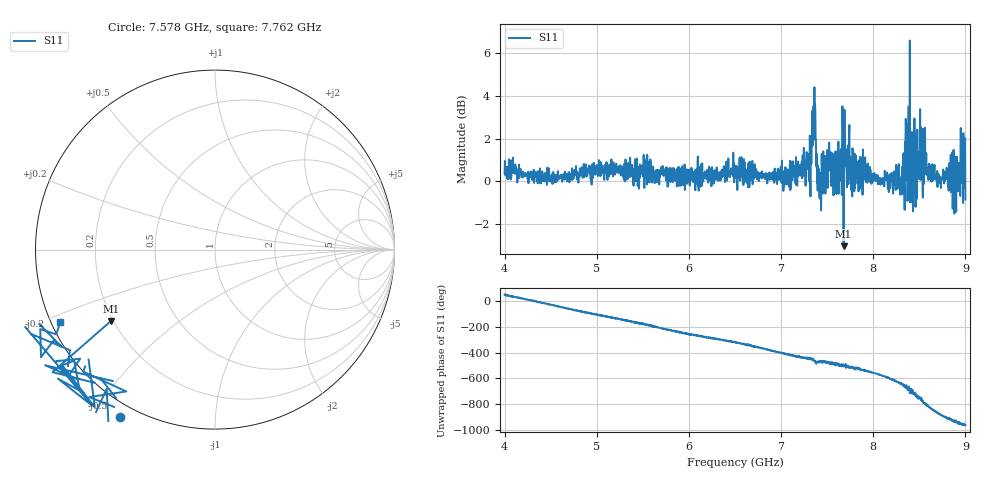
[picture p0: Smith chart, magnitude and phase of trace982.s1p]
! Created with skrf 1.8.0 (http://scikit-rf.org).
# Hz S RI R 50.0
!freq ReS11 ImS11
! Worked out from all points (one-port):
!   1601 points, 4 GHz to 9 GHz, reference 50 ohm
!   lowest |S11| = -3.1 dB at 7.678 GHz (marker M1), VSWR 5.73, Z = 9.54 - j15 ohm
!   |S11| at or under -10 dB: nowhere
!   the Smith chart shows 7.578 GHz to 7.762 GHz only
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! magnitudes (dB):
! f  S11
! 4 GHz  0.4
! 4.625 GHz  0.0
! 5.25 GHz  0.4
! 5.875 GHz  0.3
! 6.5 GHz  0.2
! 7.038 GHz  0.1
! 7.125 GHz  0.5
! 7.306 GHz  0.0
! 7.353 GHz  3.5
! 7.369 GHz  3.6
! 7.412 GHz  -0.1
! 7.512 GHz  0.6
! 7.591 GHz  1.4
! 7.678 GHz  -3.1
! 7.75 GHz  0.3
! 7.769 GHz  0.2
! 7.891 GHz  0.4
! 8.075 GHz  0.0
! 8.316 GHz  -0.6
! 8.331 GHz  -0.2
! 8.35 GHz  2.0
! 8.375 GHz  -0.1
! 8.434 GHz  1.2
! 8.503 GHz  0.2
! 8.722 GHz  0.0
! 8.903 GHz  1.1
! 8.972 GHz  0.8
! 9 GHz  -0.9
